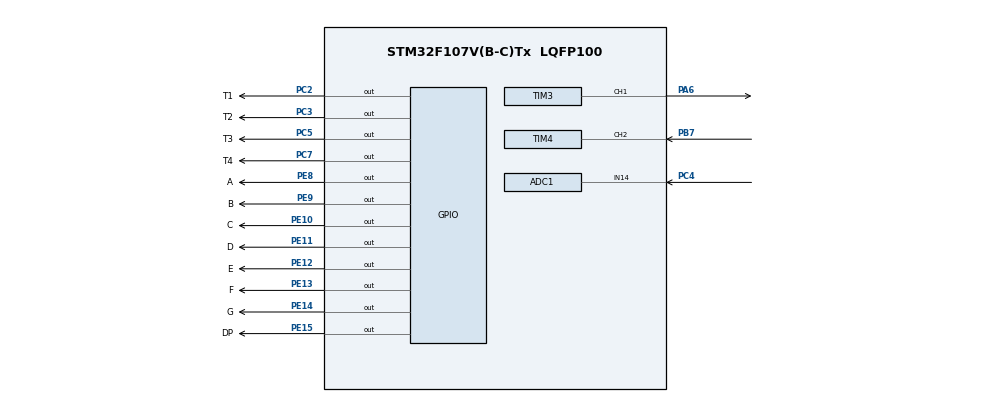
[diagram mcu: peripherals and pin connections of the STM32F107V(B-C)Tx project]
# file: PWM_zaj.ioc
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ADC1.EnableRegularConversion=DISABLE
ADC1.master=1
Mcu.Family=STM32F1
Mcu.Name=STM32F107V(B-C)Tx
Mcu.Package=LQFP100
NVIC.PriorityGroup=NVIC_PRIORITYGROUP_4
PA13.Mode=Serial_Wire
PA13.Signal=SYS_JTMS-SWDIO
PA14.Mode=Serial_Wire
PA14.Signal=SYS_JTCK-SWCLK
PA6.Signal=S_TIM3_CH1
PB7.Signal=S_TIM4_CH2
PC2.GPIO_Label=T1
PC2.Signal=GPIO_Output
PC3.GPIO_Label=T2
PC3.Signal=GPIO_Output
PC4.Signal=ADCx_IN14
PC5.GPIO_Label=T3
PC5.Signal=GPIO_Output
PC7.GPIO_Label=T4
PC7.Signal=GPIO_Output
PE10.GPIO_Label=C
PE10.Signal=GPIO_Output
PE11.GPIO_Label=D
PE11.Signal=GPIO_Output
PE12.GPIO_Label=E
PE12.Signal=GPIO_Output
PE13.GPIO_Label=F
PE13.Signal=GPIO_Output
PE14.GPIO_Label=G
PE14.Signal=GPIO_Output
PE15.GPIO_Label=DP
PE15.Signal=GPIO_Output
PE8.GPIO_Label=A
PE8.Signal=GPIO_Output
PE9.GPIO_Label=B
PE9.Signal=GPIO_Output
ProjectManager.HeapSize=0x200
ProjectManager.StackSize=0x400
ProjectManager.TargetToolchain=MDK-ARM V5.27
RCC.USBFreq_Value=10666666.666666666
SH.ADCx_IN14.0=ADC1_IN14,IN14
SH.S_TIM3_CH1.0=TIM3_CH1,PWM Generation1 CH1
SH.S_TIM4_CH2.0=TIM4_CH2,Input_Capture2_from_TI2
TIM3.Channel-PWM\ Generation1\ CH1=TIM_CHANNEL_1
TIM3.Period=10000
TIM3.Prescaler=7999
TIM4.Channel-Input_Capture2_from_TI2=TIM_CHANNEL_2
VP_TIM2_VS_ClockSourceINT.Mode=Internal
VP_TIM3_VS_ClockSourceINT.Mode=Internal
VP_TIM4_VS_ClockSourceINT.Mode=Internal
board=custom

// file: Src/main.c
/* USER CODE BEGIN Header */
/**
  ******************************************************************************
  * @file           : main.c
  * @brief          : Main program body
  ******************************************************************************
  * @attention
  *
  * <h2><center>&copy; Copyright (c) 2020 STMicroelectronics.
  * All rights reserved.</center></h2>
  *
  * This software component is licensed by ST under BSD 3-Clause license,
  * the "License"; You may not use this file except in compliance with the
  * License. You may obtain a copy of the License at:
  *                        opensource.org/licenses/BSD-3-Clause
  *
  ******************************************************************************
  */
/* USER CODE END Header */

#include "main.h"
#include "adc.h"
#include "tim.h"
#include "gpio.h"

/* USER CODE BEGIN Includes */
#include "display.h"
#include "stdio.h"
#include "stdlib.h"
#include "math.h"
/* USER CODE END Includes */

/* USER CODE BEGIN PV */
uint16_t PomiarADC = 0;
uint16_t PomiarV = 0;
uint16_t V  = 0;
int cnt = 0;
int tab[] = {0, 0, 0, 0};
uint16_t pulse = 0;
uint32_t ic_value = 0;
uint32_t counter_value =0;
/* USER CODE END PV */

void SystemClock_Config(void);
/* USER CODE BEGIN PFP */
static void setPWM(TIM_HandleTypeDef, uint32_t, uint16_t, uint16_t);

int adc_read(uint32_t channel)
{
 ADC_ChannelConfTypeDef adc_ch;
 adc_ch.Channel = channel;
 adc_ch.Rank = ADC_REGULAR_RANK_1;
 adc_ch.SamplingTime = ADC_SAMPLETIME_13CYCLES_5;
 HAL_ADC_ConfigChannel(&hadc1, &adc_ch);

 HAL_ADC_Start(&hadc1);
 HAL_ADC_PollForConversion(&hadc1, 1000);
 PomiarADC = HAL_ADC_GetValue(&hadc1);
	return PomiarADC;
}

/* USER CODE END PFP */

int main(void)
{

  /* MCU Configuration--------------------------------------------------------*/

  /* Reset of all peripherals, Initializes the Flash interface and the Systick. */
  HAL_Init();

  /* Configure the system clock */
  SystemClock_Config();

  /* Initialize all configured peripherals */
  MX_GPIO_Init();
  MX_ADC1_Init();
  MX_TIM2_Init();
  MX_TIM3_Init();
  MX_TIM4_Init();
  /* USER CODE BEGIN 2 */
	HAL_TIM_Base_Start_IT(&htim2);
	HAL_ADC_Start(&hadc1);
	HAL_TIM_PWM_Start(&htim3, TIM_CHANNEL_1);
	//HAL_TIM_IC_Start_IT(&htim4, TIM_CHANNEL_2);
  /* USER CODE END 2 */

  /* Infinite loop */
  /* USER CODE BEGIN WHILE */
  while (1)
  {
		//counter_value = __HAL_TIM_GET_COUNTER(&htim3);

		PomiarADC = HAL_ADC_GetValue(&hadc1);
		PomiarV = (PomiarADC/ 4096.0) * 1000;
		//setPWM(htim4, TIM_CHANNEL_1, 999, PomiarV);

		V = PomiarV/1000;

		tab[3] = PomiarV - ((PomiarV/10)*10);
		tab[2] = (PomiarV/10) - ((PomiarV/100)*10);
		tab[1] = (PomiarV/100) - (V*10);
		tab[0] = V;
		cnt++;

		if (cnt == 4)
			cnt = 0;

		Digit(cnt+1);
		bit_mask(tab[cnt]);
		HAL_ADC_Start(&hadc1);

		setPWM(htim4, TIM_CHANNEL_1, 999, PomiarV);
		HAL_Delay(1);

    /* USER CODE END WHILE */

  }
}

void SystemClock_Config(void)
{
  RCC_OscInitTypeDef RCC_OscInitStruct = {0};
  RCC_ClkInitTypeDef RCC_ClkInitStruct = {0};
  RCC_PeriphCLKInitTypeDef PeriphClkInit = {0};

  /** Initializes the CPU, AHB and APB busses clocks
  */
  RCC_OscInitStruct.OscillatorType = RCC_OSCILLATORTYPE_HSI;
  RCC_OscInitStruct.HSIState = RCC_HSI_ON;
  RCC_OscInitStruct.HSICalibrationValue = RCC_HSICALIBRATION_DEFAULT;
  RCC_OscInitStruct.PLL.PLLState = RCC_PLL_NONE;
  RCC_OscInitStruct.PLL2.PLL2State = RCC_PLL_NONE;
  if (HAL_RCC_OscConfig(&RCC_OscInitStruct) != HAL_OK)
  {
    Error_Handler();
  }
  /** Initializes the CPU, AHB and APB busses clocks
  */
  RCC_ClkInitStruct.ClockType = RCC_CLOCKTYPE_HCLK|RCC_CLOCKTYPE_SYSCLK
                              |RCC_CLOCKTYPE_PCLK1|RCC_CLOCKTYPE_PCLK2;
  RCC_ClkInitStruct.SYSCLKSource = RCC_SYSCLKSOURCE_HSI;
  RCC_ClkInitStruct.AHBCLKDivider = RCC_SYSCLK_DIV1;
  RCC_ClkInitStruct.APB1CLKDivider = RCC_HCLK_DIV1;
  RCC_ClkInitStruct.APB2CLKDivider = RCC_HCLK_DIV1;

  if (HAL_RCC_ClockConfig(&RCC_ClkInitStruct, FLASH_LATENCY_0) != HAL_OK)
  {
    Error_Handler();
  }
  PeriphClkInit.PeriphClockSelection = RCC_PERIPHCLK_ADC;
  PeriphClkInit.AdcClockSelection = RCC_ADCPCLK2_DIV2;
  if (HAL_RCCEx_PeriphCLKConfig(&PeriphClkInit) != HAL_OK)
  {
    Error_Handler();
  }
  /** Configure the Systick interrupt time
  */
  __HAL_RCC_PLLI2S_ENABLE();
}

/* USER CODE BEGIN 4 */
void HAL_TIM_IC_CaptureCallback(TIM_HandleTypeDef *htim)
{

		if(htim->Instance == TIM3)
	{
	ic_value = __HAL_TIM_GET_COUNTER(htim);
	__HAL_TIM_SET_COUNTER(htim, 0);

	}

  /* NOTE : This function should not be modified, when the callback is needed,
            the HAL_TIM_IC_CaptureCallback could be implemented in the user file
   */
}

void setPWM(TIM_HandleTypeDef timer, uint32_t channel, uint16_t period,
	uint16_t pulse)
	{
	 HAL_TIM_PWM_Stop(&timer, channel); // stop generation of pwm
	 TIM_OC_InitTypeDef sConfigOC;
	 timer.Init.Period = period; // set the period duration
	 HAL_TIM_PWM_Init(&timer); // reinititialise with new period value
	 sConfigOC.OCMode = TIM_OCMODE_PWM1;
	 sConfigOC.Pulse = pulse; // set the pulse duration
	 sConfigOC.OCPolarity = TIM_OCPOLARITY_HIGH;
	 sConfigOC.OCFastMode = TIM_OCFAST_DISABLE;
	 HAL_TIM_PWM_ConfigChannel(&timer, &sConfigOC, channel);
	 HAL_TIM_PWM_Start(&timer, channel); // start pwm generation
	}
/* USER CODE END 4 */

void Error_Handler(void)
{
}

/************************ (C) COPYRIGHT STMicroelectronics *****END OF FILE****/
